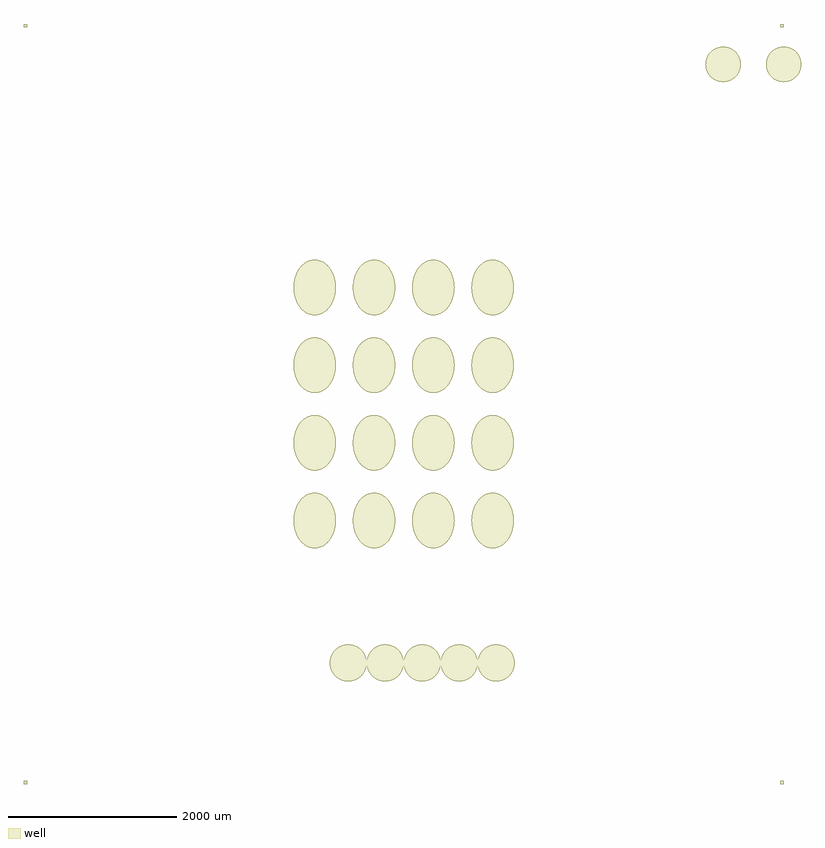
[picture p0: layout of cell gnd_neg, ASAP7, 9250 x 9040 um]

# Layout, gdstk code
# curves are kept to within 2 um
import gdstk
lib = gdstk.Library(unit=1e-6, precision=1e-09)
def R(c, l, rs):  # rectangles x0, y0, x1, y1
    for r in rs: c.add(gdstk.rectangle(r[:2], r[2:], *l))
def P(c, l, *ps):  # polygons
    for p in ps: c.add(gdstk.Polygon(p, *l))
well = (1, 0)

gnd_neg = lib.new_cell('gnd_neg')
R(gnd_neg, well, [(480,480,520,520), (9480,480,9520,520), (480,9480,520,9520), (9480,9480,9520,9520)])
P(gnd_neg, well, [(9520,9040),(9730,9040),(9725.06,9085.284),(9712.181,9124.656),(9694.175,9157.316),(9667.757,9189.224),(9635.589,9215.326),(9598.924,9234.605),(9559.187,9246.311),(9517.925,9249.99),(9476.744,9245.497),(9441.076,9234.605),(9411.427,9219.755),(9384.486,9200.424),(9358.245,9173.923),(9337.106,9143.198),(9323.142,9113.122),(9313.312,9077.147),(9310,9040)],
  [(9520,9040),(9310,9040),(9314.94,8994.716),(9327.819,8955.344),(9345.825,8922.684),(9372.243,8890.776),(9404.411,8864.674),(9441.076,8845.395),(9480.813,8833.689),(9522.075,8830.01),(9563.256,8834.503),(9598.924,8845.395),(9628.573,8860.245),(9655.514,8879.576),(9681.755,8906.077),(9702.894,8936.802),(9716.858,8966.878),(9726.688,9002.853),(9730,9040)],
  [(8800,9040),(9010,9040),(9005.06,9085.284),(8992.181,9124.656),(8974.175,9157.316),(8947.757,9189.224),(8915.589,9215.326),(8878.924,9234.605),(8839.187,9246.311),(8797.925,9249.99),(8756.744,9245.497),(8721.076,9234.605),(8691.427,9219.755),(8664.486,9200.424),(8638.245,9173.923),(8617.106,9143.198),(8603.142,9113.122),(8593.312,9077.147),(8590,9040)],
  [(8800,9040),(8590,9040),(8594.94,8994.716),(8607.819,8955.344),(8625.825,8922.684),(8652.243,8890.776),(8684.411,8864.674),(8721.076,8845.395),(8760.813,8833.689),(8802.075,8830.01),(8843.256,8834.503),(8878.924,8845.395),(8908.573,8860.245),(8935.514,8879.576),(8961.755,8906.077),(8982.894,8936.802),(8996.858,8966.878),(9006.688,9002.853),(9010,9040)],
  [(3941.6,6386),(4193.6,6386),(4188.57,6451.604),(4173.681,6514.59),(4149.527,6572.442),(4120.065,6618.986),(4081.132,6660.796),(4036.63,6691.637),(3988.334,6710.276),(3942.375,6715.998),(3904.682,6712.44),(3863.812,6699.885),(3825.101,6678.619),(3789.622,6649.233)],
  [(3941.6,6386),(3789.622,6649.233),(3753.652,6605.827),(3724.763,6554.139),(3704.044,6496.117),(3692.274,6433.945),(3689.898,6369.968),(3697.004,6306.594),(3714.83,6242.075),(3740.334,6187.418),(3763.262,6152.848),(3789.622,6122.767)],
  [(3941.6,6386),(3789.622,6122.767),(3825.101,6093.381),(3863.812,6072.115),(3904.682,6059.56),(3942.375,6056.002),(3988.334,6061.724),(4036.63,6080.363),(4081.132,6111.204),(4120.065,6153.014),(4149.527,6199.558),(4173.681,6257.41),(4188.57,6320.396),(4193.6,6386)],
  [(4647.2,6386),(4899.2,6386),(4894.17,6451.604),(4879.281,6514.59),(4855.127,6572.442),(4825.665,6618.986),(4786.732,6660.796),(4742.23,6691.637),(4693.934,6710.276),(4647.975,6715.998),(4610.282,6712.44),(4569.412,6699.885),(4530.701,6678.619),(4495.222,6649.233)],
  [(4647.2,6386),(4495.222,6649.233),(4459.252,6605.827),(4430.363,6554.139),(4409.644,6496.117),(4397.874,6433.945),(4395.498,6369.968),(4402.604,6306.594),(4420.43,6242.075),(4445.934,6187.418),(4468.862,6152.848),(4495.222,6122.767)],
  [(4647.2,6386),(4495.222,6122.767),(4530.701,6093.381),(4569.412,6072.115),(4610.282,6059.56),(4647.975,6056.002),(4693.934,6061.724),(4742.23,6080.363),(4786.732,6111.204),(4825.665,6153.014),(4855.127,6199.558),(4879.281,6257.41),(4894.17,6320.396),(4899.2,6386)],
  [(5352.8,6386),(5604.8,6386),(5599.77,6451.604),(5584.881,6514.59),(5560.727,6572.442),(5531.265,6618.986),(5492.332,6660.796),(5447.83,6691.637),(5399.534,6710.276),(5353.575,6715.998),(5315.882,6712.44),(5275.012,6699.885),(5236.301,6678.619),(5200.822,6649.233)],
  [(5352.8,6386),(5200.822,6649.233),(5164.852,6605.827),(5135.963,6554.139),(5115.244,6496.117),(5103.474,6433.945),(5101.098,6369.968),(5108.204,6306.594),(5126.03,6242.075),(5151.534,6187.418),(5174.462,6152.848),(5200.822,6122.767)],
  [(5352.8,6386),(5200.822,6122.767),(5236.301,6093.381),(5275.012,6072.115),(5315.882,6059.56),(5353.575,6056.002),(5399.534,6061.724),(5447.83,6080.363),(5492.332,6111.204),(5531.265,6153.014),(5560.727,6199.558),(5584.881,6257.41),(5599.77,6320.396),(5604.8,6386)],
  [(6058.4,6386),(6310.4,6386),(6305.37,6451.604),(6290.481,6514.59),(6266.327,6572.442),(6236.865,6618.986),(6197.932,6660.796),(6153.43,6691.637),(6105.134,6710.276),(6059.175,6715.998),(6021.482,6712.44),(5980.612,6699.885),(5941.901,6678.619),(5906.422,6649.233)],
  [(6058.4,6386),(5906.422,6649.233),(5870.452,6605.827),(5841.563,6554.139),(5820.844,6496.117),(5809.074,6433.945),(5806.698,6369.968),(5813.804,6306.594),(5831.63,6242.075),(5857.134,6187.418),(5880.062,6152.848),(5906.422,6122.767)],
  [(6058.4,6386),(5906.422,6122.767),(5941.901,6093.381),(5980.612,6072.115),(6021.482,6059.56),(6059.175,6056.002),(6105.134,6061.724),(6153.43,6080.363),(6197.932,6111.204),(6236.865,6153.014),(6266.327,6199.558),(6290.481,6257.41),(6305.37,6320.396),(6310.4,6386)],
  [(3941.6,5462),(4193.6,5462),(4188.57,5527.604),(4173.681,5590.59),(4149.527,5648.442),(4120.065,5694.986),(4081.132,5736.796),(4036.63,5767.637),(3988.334,5786.276),(3942.375,5791.998),(3904.682,5788.44),(3863.812,5775.885),(3825.101,5754.619),(3789.622,5725.233)],
  [(3941.6,5462),(3789.622,5725.233),(3753.652,5681.827),(3724.763,5630.139),(3704.044,5572.117),(3692.274,5509.945),(3689.898,5445.968),(3697.004,5382.594),(3714.83,5318.075),(3740.334,5263.418),(3763.262,5228.848),(3789.622,5198.767)],
  [(3941.6,5462),(3789.622,5198.767),(3825.101,5169.381),(3863.812,5148.115),(3904.682,5135.56),(3942.375,5132.002),(3988.334,5137.724),(4036.63,5156.363),(4081.132,5187.204),(4120.065,5229.014),(4149.527,5275.558),(4173.681,5333.41),(4188.57,5396.396),(4193.6,5462)],
  [(4647.2,5462),(4899.2,5462),(4894.17,5527.604),(4879.281,5590.59),(4855.127,5648.442),(4825.665,5694.986),(4786.732,5736.796),(4742.23,5767.637),(4693.934,5786.276),(4647.975,5791.998),(4610.282,5788.44),(4569.412,5775.885),(4530.701,5754.619),(4495.222,5725.233)],
  [(4647.2,5462),(4495.222,5725.233),(4459.252,5681.827),(4430.363,5630.139),(4409.644,5572.117),(4397.874,5509.945),(4395.498,5445.968),(4402.604,5382.594),(4420.43,5318.075),(4445.934,5263.418),(4468.862,5228.848),(4495.222,5198.767)],
  [(4647.2,5462),(4495.222,5198.767),(4530.701,5169.381),(4569.412,5148.115),(4610.282,5135.56),(4647.975,5132.002),(4693.934,5137.724),(4742.23,5156.363),(4786.732,5187.204),(4825.665,5229.014),(4855.127,5275.558),(4879.281,5333.41),(4894.17,5396.396),(4899.2,5462)],
  [(5352.8,5462),(5604.8,5462),(5599.77,5527.604),(5584.881,5590.59),(5560.727,5648.442),(5531.265,5694.986),(5492.332,5736.796),(5447.83,5767.637),(5399.534,5786.276),(5353.575,5791.998),(5315.882,5788.44),(5275.012,5775.885),(5236.301,5754.619),(5200.822,5725.233)],
  [(5352.8,5462),(5200.822,5725.233),(5164.852,5681.827),(5135.963,5630.139),(5115.244,5572.117),(5103.474,5509.945),(5101.098,5445.968),(5108.204,5382.594),(5126.03,5318.075),(5151.534,5263.418),(5174.462,5228.848),(5200.822,5198.767)],
  [(5352.8,5462),(5200.822,5198.767),(5236.301,5169.381),(5275.012,5148.115),(5315.882,5135.56),(5353.575,5132.002),(5399.534,5137.724),(5447.83,5156.363),(5492.332,5187.204),(5531.265,5229.014),(5560.727,5275.558),(5584.881,5333.41),(5599.77,5396.396),(5604.8,5462)],
  [(6058.4,5462),(6310.4,5462),(6305.37,5527.604),(6290.481,5590.59),(6266.327,5648.442),(6236.865,5694.986),(6197.932,5736.796),(6153.43,5767.637),(6105.134,5786.276),(6059.175,5791.998),(6021.482,5788.44),(5980.612,5775.885),(5941.901,5754.619),(5906.422,5725.233)],
  [(6058.4,5462),(5906.422,5725.233),(5870.452,5681.827),(5841.563,5630.139),(5820.844,5572.117),(5809.074,5509.945),(5806.698,5445.968),(5813.804,5382.594),(5831.63,5318.075),(5857.134,5263.418),(5880.062,5228.848),(5906.422,5198.767)],
  [(6058.4,5462),(5906.422,5198.767),(5941.901,5169.381),(5980.612,5148.115),(6021.482,5135.56),(6059.175,5132.002),(6105.134,5137.724),(6153.43,5156.363),(6197.932,5187.204),(6236.865,5229.014),(6266.327,5275.558),(6290.481,5333.41),(6305.37,5396.396),(6310.4,5462)],
  [(3941.6,4538),(4193.6,4538),(4188.57,4603.604),(4173.681,4666.59),(4149.527,4724.442),(4120.065,4770.986),(4081.132,4812.796),(4036.63,4843.637),(3988.334,4862.276),(3942.375,4867.998),(3904.682,4864.44),(3863.812,4851.885),(3825.101,4830.619),(3789.622,4801.233)],
  [(3941.6,4538),(3789.622,4801.233),(3753.652,4757.827),(3724.763,4706.139),(3704.044,4648.117),(3692.274,4585.945),(3689.898,4521.968),(3697.004,4458.594),(3714.83,4394.075),(3740.334,4339.418),(3763.262,4304.848),(3789.622,4274.767)],
  [(3941.6,4538),(3789.622,4274.767),(3825.101,4245.381),(3863.812,4224.115),(3904.682,4211.56),(3942.375,4208.002),(3988.334,4213.724),(4036.63,4232.363),(4081.132,4263.204),(4120.065,4305.014),(4149.527,4351.558),(4173.681,4409.41),(4188.57,4472.396),(4193.6,4538)],
  [(4647.2,4538),(4899.2,4538),(4894.17,4603.604),(4879.281,4666.59),(4855.127,4724.442),(4825.665,4770.986),(4786.732,4812.796),(4742.23,4843.637),(4693.934,4862.276),(4647.975,4867.998),(4610.282,4864.44),(4569.412,4851.885),(4530.701,4830.619),(4495.222,4801.233)],
  [(4647.2,4538),(4495.222,4801.233),(4459.252,4757.827),(4430.363,4706.139),(4409.644,4648.117),(4397.874,4585.945),(4395.498,4521.968),(4402.604,4458.594),(4420.43,4394.075),(4445.934,4339.418),(4468.862,4304.848),(4495.222,4274.767)],
  [(4647.2,4538),(4495.222,4274.767),(4530.701,4245.381),(4569.412,4224.115),(4610.282,4211.56),(4647.975,4208.002),(4693.934,4213.724),(4742.23,4232.363),(4786.732,4263.204),(4825.665,4305.014),(4855.127,4351.558),(4879.281,4409.41),(4894.17,4472.396),(4899.2,4538)],
  [(5352.8,4538),(5604.8,4538),(5599.77,4603.604),(5584.881,4666.59),(5560.727,4724.442),(5531.265,4770.986),(5492.332,4812.796),(5447.83,4843.637),(5399.534,4862.276),(5353.575,4867.998),(5315.882,4864.44),(5275.012,4851.885),(5236.301,4830.619),(5200.822,4801.233)],
  [(5352.8,4538),(5200.822,4801.233),(5164.852,4757.827),(5135.963,4706.139),(5115.244,4648.117),(5103.474,4585.945),(5101.098,4521.968),(5108.204,4458.594),(5126.03,4394.075),(5151.534,4339.418),(5174.462,4304.848),(5200.822,4274.767)],
  [(5352.8,4538),(5200.822,4274.767),(5236.301,4245.381),(5275.012,4224.115),(5315.882,4211.56),(5353.575,4208.002),(5399.534,4213.724),(5447.83,4232.363),(5492.332,4263.204),(5531.265,4305.014),(5560.727,4351.558),(5584.881,4409.41),(5599.77,4472.396),(5604.8,4538)],
  [(6058.4,4538),(6310.4,4538),(6305.37,4603.604),(6290.481,4666.59),(6266.327,4724.442),(6236.865,4770.986),(6197.932,4812.796),(6153.43,4843.637),(6105.134,4862.276),(6059.175,4867.998),(6021.482,4864.44),(5980.612,4851.885),(5941.901,4830.619),(5906.422,4801.233)],
  [(6058.4,4538),(5906.422,4801.233),(5870.452,4757.827),(5841.563,4706.139),(5820.844,4648.117),(5809.074,4585.945),(5806.698,4521.968),(5813.804,4458.594),(5831.63,4394.075),(5857.134,4339.418),(5880.062,4304.848),(5906.422,4274.767)],
  [(6058.4,4538),(5906.422,4274.767),(5941.901,4245.381),(5980.612,4224.115),(6021.482,4211.56),(6059.175,4208.002),(6105.134,4213.724),(6153.43,4232.363),(6197.932,4263.204),(6236.865,4305.014),(6266.327,4351.558),(6290.481,4409.41),(6305.37,4472.396),(6310.4,4538)],
  [(3941.6,3614),(4193.6,3614),(4188.57,3679.604),(4173.681,3742.59),(4149.527,3800.442),(4120.065,3846.986),(4081.132,3888.796),(4036.63,3919.637),(3988.334,3938.276),(3942.375,3943.998),(3904.682,3940.44),(3863.812,3927.885),(3825.101,3906.619),(3789.622,3877.233)],
  [(3941.6,3614),(3789.622,3877.233),(3753.652,3833.827),(3724.763,3782.139),(3704.044,3724.117),(3692.274,3661.945),(3689.898,3597.968),(3697.004,3534.594),(3714.83,3470.075),(3740.334,3415.418),(3763.262,3380.848),(3789.622,3350.767)],
  [(3941.6,3614),(3789.622,3350.767),(3825.101,3321.381),(3863.812,3300.115),(3904.682,3287.56),(3942.375,3284.002),(3988.334,3289.724),(4036.63,3308.363),(4081.132,3339.204),(4120.065,3381.014),(4149.527,3427.558),(4173.681,3485.41),(4188.57,3548.396),(4193.6,3614)],
  [(4647.2,3614),(4899.2,3614),(4894.17,3679.604),(4879.281,3742.59),(4855.127,3800.442),(4825.665,3846.986),(4786.732,3888.796),(4742.23,3919.637),(4693.934,3938.276),(4647.975,3943.998),(4610.282,3940.44),(4569.412,3927.885),(4530.701,3906.619),(4495.222,3877.233)],
  [(4647.2,3614),(4495.222,3877.233),(4459.252,3833.827),(4430.363,3782.139),(4409.644,3724.117),(4397.874,3661.945),(4395.498,3597.968),(4402.604,3534.594),(4420.43,3470.075),(4445.934,3415.418),(4468.862,3380.848),(4495.222,3350.767)],
  [(4647.2,3614),(4495.222,3350.767),(4530.701,3321.381),(4569.412,3300.115),(4610.282,3287.56),(4647.975,3284.002),(4693.934,3289.724),(4742.23,3308.363),(4786.732,3339.204),(4825.665,3381.014),(4855.127,3427.558),(4879.281,3485.41),(4894.17,3548.396),(4899.2,3614)],
  [(5352.8,3614),(5604.8,3614),(5599.77,3679.604),(5584.881,3742.59),(5560.727,3800.442),(5531.265,3846.986),(5492.332,3888.796),(5447.83,3919.637),(5399.534,3938.276),(5353.575,3943.998),(5315.882,3940.44),(5275.012,3927.885),(5236.301,3906.619),(5200.822,3877.233)],
  [(5352.8,3614),(5200.822,3877.233),(5164.852,3833.827),(5135.963,3782.139),(5115.244,3724.117),(5103.474,3661.945),(5101.098,3597.968),(5108.204,3534.594),(5126.03,3470.075),(5151.534,3415.418),(5174.462,3380.848),(5200.822,3350.767)],
  [(5352.8,3614),(5200.822,3350.767),(5236.301,3321.381),(5275.012,3300.115),(5315.882,3287.56),(5353.575,3284.002),(5399.534,3289.724),(5447.83,3308.363),(5492.332,3339.204),(5531.265,3381.014),(5560.727,3427.558),(5584.881,3485.41),(5599.77,3548.396),(5604.8,3614)],
  [(6058.4,3614),(6310.4,3614),(6305.37,3679.604),(6290.481,3742.59),(6266.327,3800.442),(6236.865,3846.986),(6197.932,3888.796),(6153.43,3919.637),(6105.134,3938.276),(6059.175,3943.998),(6021.482,3940.44),(5980.612,3927.885),(5941.901,3906.619),(5906.422,3877.233)],
  [(6058.4,3614),(5906.422,3877.233),(5870.452,3833.827),(5841.563,3782.139),(5820.844,3724.117),(5809.074,3661.945),(5806.698,3597.968),(5813.804,3534.594),(5831.63,3470.075),(5857.134,3415.418),(5880.062,3380.848),(5906.422,3350.767)],
  [(6058.4,3614),(5906.422,3350.767),(5941.901,3321.381),(5980.612,3300.115),(6021.482,3287.56),(6059.175,3284.002),(6105.134,3289.724),(6153.43,3308.363),(6197.932,3339.204),(6236.865,3381.014),(6266.327,3427.558),(6290.481,3485.41),(6305.37,3548.396),(6310.4,3614)],
  [(4340,1920),(4560,1920),(4557.39,1953.787),(4549.622,1986.773),(4534.952,2021.95),(4516.982,2050.681),(4491.771,2079.266),(4465.511,2100.685),(4432.442,2119.636),(4400.686,2131.465),(4354.829,2139.5),(4312.511,2138.276),(4271.21,2128.969),(4232.457,2111.923),(4197.686,2087.77),(4165.57,2054.068),(4143.12,2018.174),(4127.96,1978.645),(4120,1920)],
  [(4340,1920),(4120,1920),(4122.61,1886.213),(4130.378,1853.227),(4145.048,1818.05),(4163.018,1789.319),(4188.229,1760.734),(4214.489,1739.315),(4247.558,1720.364),(4279.314,1708.535),(4325.171,1700.5),(4367.489,1701.724),(4408.79,1711.031),(4447.543,1728.077),(4482.314,1752.23),(4514.43,1785.932),(4536.88,1821.826),(4552.04,1861.355),(4560,1920)],
  [(4780,1920),(5000,1920),(4997.39,1953.787),(4989.622,1986.773),(4974.952,2021.95),(4956.982,2050.681),(4931.771,2079.266),(4905.511,2100.685),(4872.442,2119.636),(4840.686,2131.465),(4794.829,2139.5),(4752.511,2138.276),(4711.21,2128.969),(4672.457,2111.923),(4637.686,2087.77),(4605.57,2054.068),(4583.12,2018.174),(4567.96,1978.645),(4560,1920)],
  [(4780,1920),(4560,1920),(4562.61,1886.213),(4570.378,1853.227),(4585.048,1818.05),(4603.018,1789.319),(4628.229,1760.734),(4654.489,1739.315),(4687.558,1720.364),(4719.314,1708.535),(4765.171,1700.5),(4807.489,1701.724),(4848.79,1711.031),(4887.543,1728.077),(4922.314,1752.23),(4954.43,1785.932),(4976.88,1821.826),(4992.04,1861.355),(5000,1920)],
  [(5220,1920),(5440,1920),(5437.39,1953.787),(5429.622,1986.773),(5414.952,2021.95),(5396.982,2050.681),(5371.771,2079.266),(5345.511,2100.685),(5312.442,2119.636),(5280.686,2131.465),(5234.829,2139.5),(5192.511,2138.276),(5151.21,2128.969),(5112.457,2111.923),(5077.686,2087.77),(5045.57,2054.068),(5023.12,2018.174),(5007.96,1978.645),(5000,1920)],
  [(5220,1920),(5000,1920),(5002.61,1886.213),(5010.378,1853.227),(5025.048,1818.05),(5043.018,1789.319),(5068.229,1760.734),(5094.489,1739.315),(5127.558,1720.364),(5159.314,1708.535),(5205.171,1700.5),(5247.489,1701.724),(5288.79,1711.031),(5327.543,1728.077),(5362.314,1752.23),(5394.43,1785.932),(5416.88,1821.826),(5432.04,1861.355),(5440,1920)],
  [(5660,1920),(5880,1920),(5877.39,1953.787),(5869.622,1986.773),(5854.952,2021.95),(5836.982,2050.681),(5811.771,2079.266),(5785.511,2100.685),(5752.442,2119.636),(5720.686,2131.465),(5674.829,2139.5),(5632.511,2138.276),(5591.21,2128.969),(5552.457,2111.923),(5517.686,2087.77),(5485.57,2054.068),(5463.12,2018.174),(5447.96,1978.645),(5440,1920)],
  [(5660,1920),(5440,1920),(5442.61,1886.213),(5450.378,1853.227),(5465.048,1818.05),(5483.018,1789.319),(5508.229,1760.734),(5534.489,1739.315),(5567.558,1720.364),(5599.314,1708.535),(5645.171,1700.5),(5687.489,1701.724),(5728.79,1711.031),(5767.543,1728.077),(5802.314,1752.23),(5834.43,1785.932),(5856.88,1821.826),(5872.04,1861.355),(5880,1920)],
  [(6100,1920),(6320,1920),(6317.39,1953.787),(6309.622,1986.773),(6294.952,2021.95),(6276.982,2050.681),(6251.771,2079.266),(6225.511,2100.685),(6192.442,2119.636),(6160.686,2131.465),(6114.829,2139.5),(6072.511,2138.276),(6031.21,2128.969),(5992.457,2111.923),(5957.686,2087.77),(5925.57,2054.068),(5903.12,2018.174),(5887.96,1978.645),(5880,1920)],
  [(6100,1920),(5880,1920),(5882.61,1886.213),(5890.378,1853.227),(5905.048,1818.05),(5923.018,1789.319),(5948.229,1760.734),(5974.489,1739.315),(6007.558,1720.364),(6039.314,1708.535),(6085.171,1700.5),(6127.489,1701.724),(6168.79,1711.031),(6207.543,1728.077),(6242.314,1752.23),(6274.43,1785.932),(6296.88,1821.826),(6312.04,1861.355),(6320,1920)])

lib.write_gds('gnd_neg.gds')
